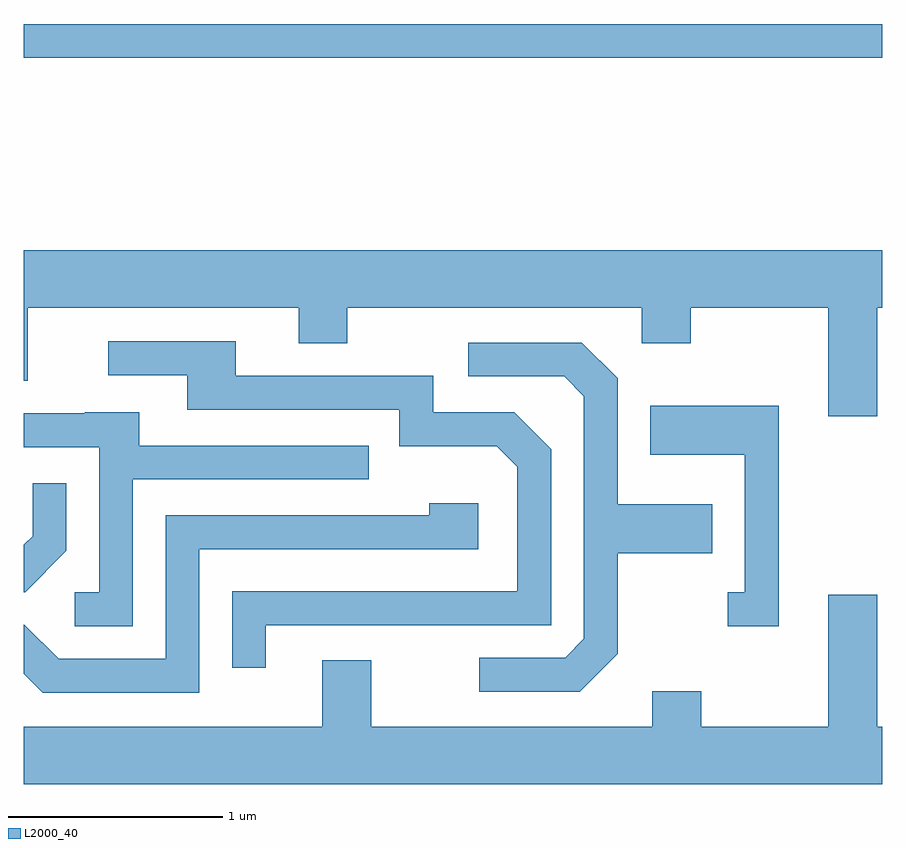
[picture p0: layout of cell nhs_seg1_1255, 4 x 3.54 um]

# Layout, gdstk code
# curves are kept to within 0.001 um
import gdstk
lib = gdstk.Library(unit=1e-6, precision=1e-09)
def R(c, l, rs):  # rectangles x0, y0, x1, y1
    for r in rs: c.add(gdstk.rectangle(r[:2], r[2:], *l))
def P(c, l, *ps):  # polygons
    for p in ps: c.add(gdstk.Polygon(p, *l))
L2000_40 = (2000, 40)

nhs_seg1_1255 = lib.new_cell('nhs_seg1_1255')
R(nhs_seg1_1255, L2000_40, [(223.611,927.381,227.611,927.539)])
P(nhs_seg1_1255, L2000_40, [(227.589,926.216),(227.611,926.216),(227.611,926.484),(223.611,926.484),(223.611,925.876),(223.629,925.876),(223.629,926.216),(224.891,926.216),(224.891,926.051),(225.119,926.051),(225.119,926.216),(226.491,926.216),(226.491,926.051),(226.719,926.051),(226.719,926.216),(227.361,926.216),(227.361,925.711),(227.589,925.711)],
  [(224.739,924.736),(226.069,924.736),(226.069,925.557),(225.897,925.729),(225.519,925.729),(225.519,925.899),(224.599,925.899),(224.599,926.059),(224.003,926.059),(224.003,925.901),(224.371,925.901),(224.371,925.741),(225.361,925.741),(225.361,925.571),(225.814,925.571),(225.911,925.474),(225.911,924.894),(224.581,924.894),(224.581,924.538),(224.739,924.538)],
  [(226.379,924.604),(226.379,925.071),(226.819,925.071),(226.819,925.299),(226.379,925.299),(226.379,925.887),(226.212,926.054),(225.683,926.054),(225.683,925.896),(226.129,925.896),(226.221,925.804),(226.221,924.672),(226.134,924.584),(225.733,924.584),(225.733,924.426),(226.202,924.426)],
  [(227.129,925.759),(226.531,925.759),(226.531,925.531),(226.971,925.531),(226.971,924.889),(226.893,924.889),(226.893,924.731),(227.129,924.731)],
  [(224.119,925.416),(225.218,925.416),(225.218,925.574),(224.149,925.574),(224.149,925.729),(223.895,925.729),(223.895,925.724),(223.611,925.724),(223.611,925.566),(223.961,925.566),(223.961,924.889),(223.848,924.889),(223.848,924.731),(224.119,924.731)],
  [(223.809,925.084),(223.809,925.398),(223.651,925.398),(223.651,925.152),(223.611,925.112),(223.611,924.891),(223.617,924.891)],
  [(224.429,925.091),(225.729,925.091),(225.729,925.304),(225.501,925.304),(225.501,925.249),(224.271,925.249),(224.271,924.579),(223.772,924.579),(223.611,924.739),(223.611,924.509),(223.699,924.421),(224.429,924.421)],
  [(227.611,924.264),(227.589,924.264),(227.589,924.879),(227.361,924.879),(227.361,924.264),(226.769,924.264),(226.769,924.429),(226.541,924.429),(226.541,924.264),(225.229,924.264),(225.229,924.574),(225.001,924.574),(225.001,924.264),(223.611,924.264),(223.611,923.996),(227.611,923.996)])

lib.write_gds('nhs_seg1_1255.gds')
